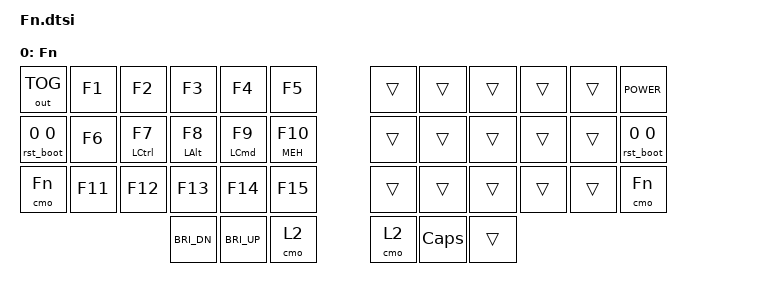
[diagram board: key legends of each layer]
/**
 * Function / System Layer
 */

/ {
  keymap {
    compatible = "zmk,keymap";

    fn_layer {
      display-name = "Fn";
      bindings = <
// ╭───────────────┬───────────────┬───────────────┬───────────────┬───────────────┬───────────────╮   ╭───────────────┬───────────────┬───────────────┬───────────────┬───────────────┬───────────────╮
// │0              │1              │2              │3              │4              │5              │   │6              │7              │8              │9              │10             │11             │
    &out OUT_TOG    &kp F1          &kp F2          &kp F3          &kp F4          &kp F5              &trans          &trans          &trans          &trans          &trans          &kp C_POWER
// ├───────────────├───────────────┼───────────────┼───────────────┼───────────────┼───────────────┤   ├───────────────├───────────────┼───────────────┼───────────────┼───────────────┼───────────────┤
// │12             │13             │14             │15             │16             │17             │   │18             │19             │20             │21             │22             │23             │
    &rst_boot 0 0   &kp F6          &hrml LCTRL F7  &hrml LALT F8   &hrml LCMD F9   &hrml MEH F10       &trans          &trans          &trans          &trans          &trans          &rst_boot 0 0
// ├───────────────├───────────────┼───────────────┼───────────────┼───────────────┼───────────────┤   ├───────────────├───────────────┼───────────────┼───────────────┼───────────────┼───────────────┤
// │24             │25             │26             │27             │28             │29             │   │30             │31             │32             │33             │34             │35             │
    &cmo Fn         &kp F11         &kp F12         &kp F13         &kp F14         &kp F15             &trans          &trans          &trans          &trans          &trans          &cmo Fn
// ╰───────────────┴───────────────┴───────────────┼───────────────┼───────────────┼───────────────┤   ├───────────────├───────────────┼───────────────┼───────────────┴───────────────┴───────────────╯
//                                                 │36             │37             │38             │   │39             │40             │41             │
                                                    &kp C_BRI_DN    &kp C_BRI_UP    &cmo L2             &cmo L2         &kp CAPSLOCK    &trans
//                                                 ╰───────────────┴───────────────┴───────────────╯   ╰───────────────┴───────────────┴───────────────╯
      >;
    };
  };
};
